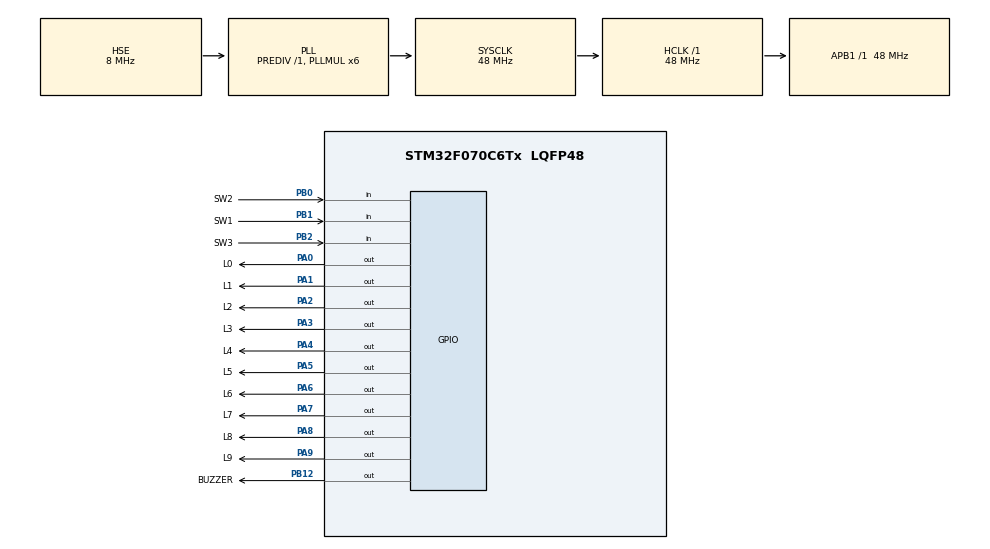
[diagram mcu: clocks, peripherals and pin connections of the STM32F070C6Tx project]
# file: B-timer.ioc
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Mcu.Family=STM32F0
Mcu.Name=STM32F070C6Tx
Mcu.Package=LQFP48
NVIC.TIM14_IRQn=true\:0\:0\:false\:false\:true\:true\:true
NVIC.TIM16_IRQn=true\:0\:0\:false\:false\:true\:true\:true
NVIC.TIM3_IRQn=true\:0\:0\:false\:false\:true\:true\:true
PA0.GPIO_Label=L0
PA0.GPIO_ModeDefaultOutputPP=GPIO_MODE_OUTPUT_PP
PA0.GPIO_PuPd=GPIO_NOPULL
PA0.GPIO_Speed=GPIO_SPEED_FREQ_LOW
PA0.PinState=GPIO_PIN_RESET
PA0.Signal=GPIO_Output
PA1.GPIO_Label=L1
PA1.GPIO_ModeDefaultOutputPP=GPIO_MODE_OUTPUT_PP
PA1.GPIO_PuPd=GPIO_NOPULL
PA1.GPIO_Speed=GPIO_SPEED_FREQ_LOW
PA1.PinState=GPIO_PIN_RESET
PA1.Signal=GPIO_Output
PA13.Mode=Serial_Wire
PA13.Signal=SYS_SWDIO
PA14.Mode=Serial_Wire
PA14.Signal=SYS_SWCLK
PA2.GPIO_Label=L2
PA2.GPIO_ModeDefaultOutputPP=GPIO_MODE_OUTPUT_PP
PA2.GPIO_PuPd=GPIO_NOPULL
PA2.GPIO_Speed=GPIO_SPEED_FREQ_LOW
PA2.PinState=GPIO_PIN_RESET
PA2.Signal=GPIO_Output
PA3.GPIO_Label=L3
PA3.GPIO_ModeDefaultOutputPP=GPIO_MODE_OUTPUT_PP
PA3.GPIO_PuPd=GPIO_NOPULL
PA3.GPIO_Speed=GPIO_SPEED_FREQ_LOW
PA3.PinState=GPIO_PIN_RESET
PA3.Signal=GPIO_Output
PA4.GPIO_Label=L4
PA4.Signal=GPIO_Output
PA5.GPIO_Label=L5
PA5.GPIO_ModeDefaultOutputPP=GPIO_MODE_OUTPUT_PP
PA5.GPIO_PuPd=GPIO_NOPULL
PA5.GPIO_Speed=GPIO_SPEED_FREQ_LOW
PA5.PinState=GPIO_PIN_RESET
PA5.Signal=GPIO_Output
PA6.GPIO_Label=L6
PA6.GPIO_ModeDefaultOutputPP=GPIO_MODE_OUTPUT_PP
PA6.GPIO_PuPd=GPIO_NOPULL
PA6.GPIO_Speed=GPIO_SPEED_FREQ_LOW
PA6.PinState=GPIO_PIN_RESET
PA6.Signal=GPIO_Output
PA7.GPIO_Label=L7
PA7.GPIO_ModeDefaultOutputPP=GPIO_MODE_OUTPUT_PP
PA7.GPIO_PuPd=GPIO_NOPULL
PA7.GPIO_Speed=GPIO_SPEED_FREQ_LOW
PA7.PinState=GPIO_PIN_RESET
PA7.Signal=GPIO_Output
PA8.GPIO_Label=L8
PA8.Signal=GPIO_Output
PA9.GPIO_FMA9=__NULL
PA9.GPIO_Label=L9
PA9.GPIO_ModeDefaultOutputPP=GPIO_MODE_OUTPUT_PP
PA9.GPIO_PuPd=GPIO_NOPULL
PA9.GPIO_Speed=GPIO_SPEED_FREQ_LOW
PA9.PinState=GPIO_PIN_RESET
PA9.Signal=GPIO_Output
PB0.GPIO_Label=SW2
PB0.GPIO_Mode=GPIO_MODE_INPUT
PB0.GPIO_PuPd=GPIO_PULLUP
PB0.Signal=GPIO_Input
PB1.GPIO_Label=SW1
PB1.GPIO_Mode=GPIO_MODE_INPUT
PB1.GPIO_PuPd=GPIO_PULLUP
PB1.Signal=GPIO_Input
PB12.GPIO_Label=BUZZER
PB12.Signal=GPIO_Output
PB2.GPIO_Label=SW3
PB2.GPIO_Mode=GPIO_MODE_INPUT
PB2.GPIO_PuPd=GPIO_PULLUP
PB2.Signal=GPIO_Input
PF0-OSC_IN.Mode=HSE-External-Oscillator
PF0-OSC_IN.Signal=RCC_OSC_IN
PF1-OSC_OUT.Mode=HSE-External-Oscillator
PF1-OSC_OUT.Signal=RCC_OSC_OUT
ProjectManager.HeapSize=0x200
ProjectManager.StackSize=0x400
ProjectManager.TargetToolchain=Makefile
RCC.AHBFreq_Value=48000000
RCC.APB1Freq_Value=48000000
RCC.APB1TimFreq_Value=48000000
RCC.HCLKFreq_Value=48000000
RCC.PLLMUL=RCC_PLL_MUL6
RCC.PLLSourceVirtual=RCC_PLLSOURCE_HSE
RCC.SYSCLKFreq_VALUE=48000000
RCC.SYSCLKSource=RCC_SYSCLKSOURCE_PLLCLK
TIM14.Channel=TIM_CHANNEL_1
TIM14.Period=10
TIM14.Prescaler=4799
TIM16.Channel=TIM_CHANNEL_1
TIM16.Period=1000
TIM16.Prescaler=47999
TIM3.Period=10
TIM3.Prescaler=479
VP_TIM14_VS_ClockSourceINT.Mode=Enable_Timer
VP_TIM14_VS_no_output1.Mode=PWM Generation1 No Output
VP_TIM16_VS_ClockSourceINT.Mode=Enable_Timer
VP_TIM16_VS_no_output1.Mode=Output Compare1 No Output
VP_TIM3_VS_ClockSourceINT.Mode=Internal
board=custom

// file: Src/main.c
/* USER CODE BEGIN Header */
/**
  ******************************************************************************
  * @file           : main.c
  * @brief          : Main program body
  ******************************************************************************
  * This notice applies to any and all portions of this file
  * that are not between comment pairs USER CODE BEGIN and
  * USER CODE END. Other portions of this file, whether
  * inserted by the user or by software development tools
  * are owned by their respective copyright owners.
  *
  * Copyright (c) 2019 STMicroelectronics International N.V.
  * All rights reserved.
  *
  * Redistribution and use in source and binary forms, with or without
  * modification, are permitted, provided that the following conditions are met:
  *
  * 1. Redistribution of source code must retain the above copyright notice,
  *    this list of conditions and the following disclaimer.
  * 2. Redistributions in binary form must reproduce the above copyright notice,
  *    this list of conditions and the following disclaimer in the documentation
  *    and/or other materials provided with the distribution.
  * 3. Neither the name of STMicroelectronics nor the names of other
  *    contributors to this software may be used to endorse or promote products
  *    derived from this software without specific written permission.
  * 4. This software, including modifications and/or derivative works of this
  *    software, must execute solely and exclusively on microcontroller or
  *    microprocessor devices manufactured by or for STMicroelectronics.
  * 5. Redistribution and use of this software other than as permitted under
  *    this license is void and will automatically terminate your rights under
  *    this license.
  *
  * THIS SOFTWARE IS PROVIDED BY STMICROELECTRONICS AND CONTRIBUTORS "AS IS"
  * AND ANY EXPRESS, IMPLIED OR STATUTORY WARRANTIES, INCLUDING, BUT NOT
  * LIMITED TO, THE IMPLIED WARRANTIES OF MERCHANTABILITY, FITNESS FOR A
  * PARTICULAR PURPOSE AND NON-INFRINGEMENT OF THIRD PARTY INTELLECTUAL PROPERTY
  * RIGHTS ARE DISCLAIMED TO THE FULLEST EXTENT PERMITTED BY LAW. IN NO EVENT
  * SHALL STMICROELECTRONICS OR CONTRIBUTORS BE LIABLE FOR ANY DIRECT, INDIRECT,
  * INCIDENTAL, SPECIAL, EXEMPLARY, OR CONSEQUENTIAL DAMAGES (INCLUDING, BUT NOT
  * LIMITED TO, PROCUREMENT OF SUBSTITUTE GOODS OR SERVICES; LOSS OF USE, DATA,
  * OR PROFITS; OR BUSINESS INTERRUPTION) HOWEVER CAUSED AND ON ANY THEORY OF
  * LIABILITY, WHETHER IN CONTRACT, STRICT LIABILITY, OR TORT (INCLUDING
  * NEGLIGENCE OR OTHERWISE) ARISING IN ANY WAY OUT OF THE USE OF THIS SOFTWARE,
  * EVEN IF ADVISED OF THE POSSIBILITY OF SUCH DAMAGE.
  *
  ******************************************************************************
  */
/* USER CODE END Header */

#include "main.h"

TIM_HandleTypeDef htim3;
TIM_HandleTypeDef htim14;
TIM_HandleTypeDef htim16;

/* USER CODE BEGIN PV */

// Symbols 0 to 9. Each symbol is 4 pixels wide and 5 pixels high. Each row of 4 pixels is represented by 4 bits.
const uint32_t symbols[] = { 0xeaaae, 0xe4464, 0xe2e8e, 0xe8e8e, 0x88eaa, 0xe8e2e, 0xeae2e, 0x8888e, 0xeaeae, 0x88eae };

uint8_t running = 0;
uint8_t digit1 = 0;
uint8_t digit2 = 0;
uint8_t digit3 = 0;
uint8_t digit4 = 0;
uint8_t minutes = 0;
uint8_t seconds = 0;

/* USER CODE END PV */

void SystemClock_Config(void);
static void MX_GPIO_Init(void);
static void MX_TIM3_Init(void);
static void MX_TIM14_Init(void);
static void MX_TIM16_Init(void);

/* USER CODE BEGIN 0 */

void clear_leds() {
    //Set all floating
    GPIO_InitTypeDef GPIO_InitStruct = {0};
    GPIO_InitStruct.Pin = L0_Pin|L1_Pin|L2_Pin|L3_Pin
                        |L4_Pin|L5_Pin|L6_Pin|L7_Pin
                        |L8_Pin|L9_Pin;
    GPIO_InitStruct.Mode = GPIO_MODE_INPUT;
    HAL_GPIO_Init(GPIOA, &GPIO_InitStruct);
}

void set_led(int x_pix, int y_pix) {
    GPIO_InitTypeDef GPIO_InitStruct = {0};
    clear_leds();

    // Convert from x,y coordinates to LED pin coordinates:
    if (x_pix >= 9) {
        y_pix += 5;
        x_pix -= 9;
    }
    if (x_pix >= y_pix)
      x_pix++;

    uint16_t x = (1<<x_pix);
    uint16_t y = (1<<y_pix);

    // Set the correct pins for these x,y coordinates:
    GPIO_InitStruct.Pin = y|x;
    GPIO_InitStruct.Mode = GPIO_MODE_OUTPUT_PP;
    HAL_GPIO_Init(GPIOA, &GPIO_InitStruct);

    // >>> @IMPORTANT //
    // >>> Use these two lines if you mounted the LED's pointing up ...
    HAL_GPIO_WritePin(GPIOA, y, GPIO_PIN_RESET);
    HAL_GPIO_WritePin(GPIOA, x, GPIO_PIN_SET);
    // >>> ... and use these two if you mounted the LED's pointing down
    // HAL_GPIO_WritePin(GPIOA, x, GPIO_PIN_RESET);
    // HAL_GPIO_WritePin(GPIOA, y, GPIO_PIN_SET);

}

void update_time() {
  // Update digits 1 and 2
  digit1 = minutes / 10;
  digit2 = minutes % 10;

  // Update digits 3 and 4
  digit3 = seconds / 10;
  digit4 = seconds % 10;
}

void second_tick()
{
    if (running) {
      if (seconds == 0 && minutes == 0){}
      else if (seconds == 0) {
        minutes--;
        seconds = 59;
      }
      else
        seconds--;

      update_time();
    }
}

void pixel() {

  static uint8_t x = 0;
  static uint8_t y = 0;
  uint32_t symbol = 0;

  // DIGIT 1
  if ( x == 8 ) {
    symbol = 0x00; // Nothing when x=8
  }
  else  if ( x == 9 ) {
    symbol = 0x0f0f0; // Colon when x=9
  }
  else if (x < 4)
  {
    symbol = symbols[digit1];
  }
  else if (x < 8) {
    symbol = symbols[digit2];
  }
  else if (x < 14) {
    symbol = symbols[digit3];
  }
  else {
    symbol = symbols[digit4];
  }

  // Convert from x/y position to bit position in the symbol variable
  uint8_t position = (x%4) + 4*y;
  if (x > 9)
    position = ((x-2)%4) + 4*y;

  if ( (1 << position) & symbol )
    set_led(x, y);
  else
    clear_leds();

  // Go to next LED:
  x++;
  y++;

  // Reset to 0 when out of range:
  if(x > 17)
      x = 0;
  if(y > 4)
      y = 0;
}

/* USER CODE END 0 */

int main(void)
{

  /* MCU Configuration--------------------------------------------------------*/

  /* Reset of all peripherals, Initializes the Flash interface and the Systick. */
  HAL_Init();

  /* Configure the system clock */
  SystemClock_Config();

  /* Initialize all configured peripherals */
  MX_GPIO_Init();
  MX_TIM3_Init();
  MX_TIM14_Init();
  MX_TIM16_Init();
  /* USER CODE BEGIN 2 */

  HAL_TIM_Base_Start_IT(&htim3);
  HAL_TIM_Base_Start_IT(&htim14);
  HAL_TIM_Base_Start_IT(&htim16);

  /* USER CODE END 2 */

  /* Infinite loop */
  while (1)
  {

    /* USER CODE BEGIN 3 */

    if (HAL_GPIO_ReadPin(GPIOB, SW1_Pin)==0)
    {
      if (running == 0)
        running = 1;
      else
        running = 0;

      HAL_Delay(10);
      while (HAL_GPIO_ReadPin(GPIOB, SW1_Pin)==0) {}
      HAL_Delay(10);
    }

    if (HAL_GPIO_ReadPin(GPIOB, SW2_Pin)==0)
    {
        // Increase minutes
        minutes++;
        if (minutes > 99)
          minutes = 0;

        update_time();

        HAL_Delay(10);
        while (HAL_GPIO_ReadPin(GPIOB, SW2_Pin)==0) {}
        HAL_Delay(10);
    }

    if (HAL_GPIO_ReadPin(GPIOB, SW3_Pin)==0)
    {
        // Increase seconds
        seconds++;
        if (seconds > 99)
          seconds = 0;

        update_time();

        HAL_Delay(10);
        while (HAL_GPIO_ReadPin(GPIOB, SW3_Pin)==0) {}
        HAL_Delay(10);
    }

    if (running) {
      if(seconds == 0 && minutes == 0) {
          allow_buzzer = 1;
      }
    }
    else {
      allow_buzzer = 0;
    }

  }
  /* USER CODE END 3 */
}

void SystemClock_Config(void)
{
  RCC_OscInitTypeDef RCC_OscInitStruct = {0};
  RCC_ClkInitTypeDef RCC_ClkInitStruct = {0};

  /**Initializes the CPU, AHB and APB busses clocks
  */
  RCC_OscInitStruct.OscillatorType = RCC_OSCILLATORTYPE_HSE;
  RCC_OscInitStruct.HSEState = RCC_HSE_ON;
  RCC_OscInitStruct.PLL.PLLState = RCC_PLL_ON;
  RCC_OscInitStruct.PLL.PLLSource = RCC_PLLSOURCE_HSE;
  RCC_OscInitStruct.PLL.PLLMUL = RCC_PLL_MUL6;
  RCC_OscInitStruct.PLL.PREDIV = RCC_PREDIV_DIV1;
  if (HAL_RCC_OscConfig(&RCC_OscInitStruct) != HAL_OK)
  {
    Error_Handler();
  }
  /**Initializes the CPU, AHB and APB busses clocks
  */
  RCC_ClkInitStruct.ClockType = RCC_CLOCKTYPE_HCLK|RCC_CLOCKTYPE_SYSCLK
                              |RCC_CLOCKTYPE_PCLK1;
  RCC_ClkInitStruct.SYSCLKSource = RCC_SYSCLKSOURCE_PLLCLK;
  RCC_ClkInitStruct.AHBCLKDivider = RCC_SYSCLK_DIV1;
  RCC_ClkInitStruct.APB1CLKDivider = RCC_HCLK_DIV1;

  if (HAL_RCC_ClockConfig(&RCC_ClkInitStruct, FLASH_LATENCY_1) != HAL_OK)
  {
    Error_Handler();
  }
}

static void MX_TIM3_Init(void)
{

  TIM_ClockConfigTypeDef sClockSourceConfig = {0};
  TIM_MasterConfigTypeDef sMasterConfig = {0};

  htim3.Instance = TIM3;
  htim3.Init.Prescaler = 479;
  htim3.Init.CounterMode = TIM_COUNTERMODE_UP;
  htim3.Init.Period = 10;
  htim3.Init.ClockDivision = TIM_CLOCKDIVISION_DIV1;
  htim3.Init.AutoReloadPreload = TIM_AUTORELOAD_PRELOAD_DISABLE;
  if (HAL_TIM_Base_Init(&htim3) != HAL_OK)
  {
    Error_Handler();
  }
  sClockSourceConfig.ClockSource = TIM_CLOCKSOURCE_INTERNAL;
  if (HAL_TIM_ConfigClockSource(&htim3, &sClockSourceConfig) != HAL_OK)
  {
    Error_Handler();
  }
  sMasterConfig.MasterOutputTrigger = TIM_TRGO_RESET;
  sMasterConfig.MasterSlaveMode = TIM_MASTERSLAVEMODE_DISABLE;
  if (HAL_TIMEx_MasterConfigSynchronization(&htim3, &sMasterConfig) != HAL_OK)
  {
    Error_Handler();
  }

}

static void MX_TIM14_Init(void)
{

  TIM_OC_InitTypeDef sConfigOC = {0};

  htim14.Instance = TIM14;
  htim14.Init.Prescaler = 4799;
  htim14.Init.CounterMode = TIM_COUNTERMODE_UP;
  htim14.Init.Period = 10;
  htim14.Init.ClockDivision = TIM_CLOCKDIVISION_DIV1;
  htim14.Init.AutoReloadPreload = TIM_AUTORELOAD_PRELOAD_DISABLE;
  if (HAL_TIM_Base_Init(&htim14) != HAL_OK)
  {
    Error_Handler();
  }
  if (HAL_TIM_PWM_Init(&htim14) != HAL_OK)
  {
    Error_Handler();
  }
  sConfigOC.OCMode = TIM_OCMODE_PWM1;
  sConfigOC.Pulse = 0;
  sConfigOC.OCPolarity = TIM_OCPOLARITY_HIGH;
  sConfigOC.OCFastMode = TIM_OCFAST_DISABLE;
  if (HAL_TIM_PWM_ConfigChannel(&htim14, &sConfigOC, TIM_CHANNEL_1) != HAL_OK)
  {
    Error_Handler();
  }

}

static void MX_TIM16_Init(void)
{

  TIM_OC_InitTypeDef sConfigOC = {0};
  TIM_BreakDeadTimeConfigTypeDef sBreakDeadTimeConfig = {0};

  htim16.Instance = TIM16;
  htim16.Init.Prescaler = 47999;
  htim16.Init.CounterMode = TIM_COUNTERMODE_UP;
  htim16.Init.Period = 1000;
  htim16.Init.ClockDivision = TIM_CLOCKDIVISION_DIV1;
  htim16.Init.RepetitionCounter = 0;
  htim16.Init.AutoReloadPreload = TIM_AUTORELOAD_PRELOAD_DISABLE;
  if (HAL_TIM_Base_Init(&htim16) != HAL_OK)
  {
    Error_Handler();
  }
  if (HAL_TIM_OC_Init(&htim16) != HAL_OK)
  {
    Error_Handler();
  }
  sConfigOC.OCMode = TIM_OCMODE_TIMING;
  sConfigOC.Pulse = 0;
  sConfigOC.OCPolarity = TIM_OCPOLARITY_HIGH;
  sConfigOC.OCNPolarity = TIM_OCNPOLARITY_HIGH;
  sConfigOC.OCFastMode = TIM_OCFAST_DISABLE;
  sConfigOC.OCIdleState = TIM_OCIDLESTATE_RESET;
  sConfigOC.OCNIdleState = TIM_OCNIDLESTATE_RESET;
  if (HAL_TIM_OC_ConfigChannel(&htim16, &sConfigOC, TIM_CHANNEL_1) != HAL_OK)
  {
    Error_Handler();
  }
  sBreakDeadTimeConfig.OffStateRunMode = TIM_OSSR_DISABLE;
  sBreakDeadTimeConfig.OffStateIDLEMode = TIM_OSSI_DISABLE;
  sBreakDeadTimeConfig.LockLevel = TIM_LOCKLEVEL_OFF;
  sBreakDeadTimeConfig.DeadTime = 0;
  sBreakDeadTimeConfig.BreakState = TIM_BREAK_DISABLE;
  sBreakDeadTimeConfig.BreakPolarity = TIM_BREAKPOLARITY_HIGH;
  sBreakDeadTimeConfig.AutomaticOutput = TIM_AUTOMATICOUTPUT_DISABLE;
  if (HAL_TIMEx_ConfigBreakDeadTime(&htim16, &sBreakDeadTimeConfig) != HAL_OK)
  {
    Error_Handler();
  }

}

static void MX_GPIO_Init(void)
{
  GPIO_InitTypeDef GPIO_InitStruct = {0};

  /* GPIO Ports Clock Enable */
  __HAL_RCC_GPIOF_CLK_ENABLE();
  __HAL_RCC_GPIOA_CLK_ENABLE();
  __HAL_RCC_GPIOB_CLK_ENABLE();

  /*Configure GPIO pin Output Level */
  HAL_GPIO_WritePin(GPIOA, L0_Pin|L1_Pin|L2_Pin|L3_Pin
                          |L4_Pin|L5_Pin|L6_Pin|L7_Pin
                          |L8_Pin|L9_Pin, GPIO_PIN_RESET);

  /*Configure GPIO pin Output Level */
  HAL_GPIO_WritePin(BUZZER_GPIO_Port, BUZZER_Pin, GPIO_PIN_RESET);

  /*Configure GPIO pins : L0_Pin L1_Pin L2_Pin L3_Pin
                           L4_Pin L5_Pin L6_Pin L7_Pin
                           L8_Pin L9_Pin */
  GPIO_InitStruct.Pin = L0_Pin|L1_Pin|L2_Pin|L3_Pin
                          |L4_Pin|L5_Pin|L6_Pin|L7_Pin
                          |L8_Pin|L9_Pin;
  GPIO_InitStruct.Mode = GPIO_MODE_OUTPUT_PP;
  GPIO_InitStruct.Pull = GPIO_NOPULL;
  GPIO_InitStruct.Speed = GPIO_SPEED_FREQ_LOW;
  HAL_GPIO_Init(GPIOA, &GPIO_InitStruct);

  /*Configure GPIO pins : SW2_Pin SW1_Pin SW3_Pin */
  GPIO_InitStruct.Pin = SW2_Pin|SW1_Pin|SW3_Pin;
  GPIO_InitStruct.Mode = GPIO_MODE_INPUT;
  GPIO_InitStruct.Pull = GPIO_PULLUP;
  HAL_GPIO_Init(GPIOB, &GPIO_InitStruct);

  /*Configure GPIO pin : BUZZER_Pin */
  GPIO_InitStruct.Pin = BUZZER_Pin;
  GPIO_InitStruct.Mode = GPIO_MODE_OUTPUT_PP;
  GPIO_InitStruct.Pull = GPIO_NOPULL;
  GPIO_InitStruct.Speed = GPIO_SPEED_FREQ_LOW;
  HAL_GPIO_Init(BUZZER_GPIO_Port, &GPIO_InitStruct);

}

void Error_Handler(void)
{
}

/************************ (C) COPYRIGHT STMicroelectronics *****END OF FILE****/
